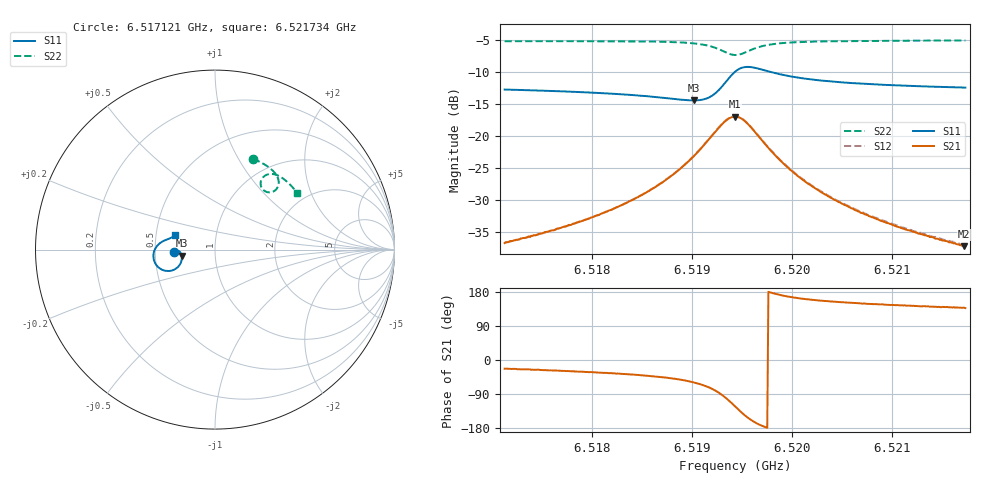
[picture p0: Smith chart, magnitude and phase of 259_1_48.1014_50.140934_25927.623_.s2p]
#  HZ  S  RI  R  50.00
! Rohde & Schwarz Vector Network Analyzer
! Rohde-Schwarz,ZNB20-2Port,1311601062101988,3.16
! Created: UTC 12/23/2023, 4:00:34 AM
! freq[Hz]  re:S11  im:S11  re:S21  im:S21  re:S12  im:S12  re:S22  im:S22
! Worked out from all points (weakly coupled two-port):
!   401 points, 6.517121 GHz to 6.521734 GHz, reference 50 ohm
!   highest |S21| = -16.99 dB at 6.519428 GHz (marker M1); lowest = -37.3 dB at 6.521723 GHz (marker M2)
!   lowest |S11| = -14.5 dB at 6.519013 GHz (marker M3), VSWR 1.47, Z = 34.3 - j2.45 ohm
!   |S11| at or under -10 dB: start of sweep to 6.519428 GHz; 6.51978 GHz to end of sweep
!   |S22| runs from -7.4 to -5.1 dB; largest |S21 - S12| = 0.0045
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6.5171214e9  -0.2294 -0.0146  0.0133 -0.00566  0.0135 -0.00517  0.2119 0.506
6.517525e9  -0.2246 -0.00888  0.0158 -0.00793  0.0158 -0.00739  0.2415 0.4929
6.517894e9  -0.2192 -0.00487  0.0185 -0.011  0.0189 -0.0105  0.2687 0.4785
6.5182977e9  -0.2108 -0.00327  0.0231 -0.0172  0.0237 -0.0164  0.2991 0.459
6.5186667e9  -0.1994 -0.0087  0.0297 -0.0291  0.0306 -0.0283  0.3276 0.4341
6.5188397e9  -0.1923 -0.0169  0.0334 -0.04  0.0347 -0.0392  0.3412 0.4173
6.5190126e9  -0.1857 -0.0345  0.0353 -0.059  0.0376 -0.0584  0.3523 0.3929
6.5191279e9  -0.1856 -0.0564  0.032 -0.0802  0.0347 -0.0799  0.3552 0.3694
6.5192087e9  -0.1929 -0.0786  0.022 -0.1001  0.0253 -0.1003  0.3498 0.3487
6.5193355e9  -0.2369 -0.1153  -0.0226 -0.1292  -0.0192 -0.1308  0.3154 0.3201
6.5194278e9  -0.296 -0.1115  -0.0755 -0.1195  -0.0726 -0.1225  0.2743 0.3281
6.5194739e9  -0.3217 -0.0924  -0.096 -0.1  -0.0941 -0.1036  0.2597 0.3448
6.5195316e9  -0.3396 -0.0602  -0.1085 -0.0699  -0.1073 -0.0736  0.2541 0.3698
6.5196238e9  -0.3401 -0.0134  -0.1038 -0.0296  -0.1038 -0.033  0.2662 0.401
6.5197276e9  -0.3239 0.0189  -0.0862 -0.00488  -0.0867 -0.00719  0.2894 0.4174
6.5199582e9  -0.2901 0.0467  -0.055 0.0123  -0.0559 0.0109  0.3311 0.4193
6.5202004e9  -0.2693 0.0559  -0.0375 0.0145  -0.0383 0.0136  0.3599 0.408
6.5204541e9  -0.256 0.0611  -0.0274 0.0138  -0.0281 0.0132  0.3823 0.3939
6.5206386e9  -0.2491 0.0641  -0.0227 0.013  -0.0234 0.0126  0.3958 0.3831
6.5209731e9  -0.2395 0.0687  -0.017 0.0116  -0.0175 0.0114  0.4175 0.363
6.5217226e9  -0.2248 0.0788  -0.0102 0.00916  -0.0107 0.00916  0.4567 0.3169
6.5217342e9  -0.2246 0.079  -0.01 0.00936  -0.0106 0.00912  0.4575 0.3162
